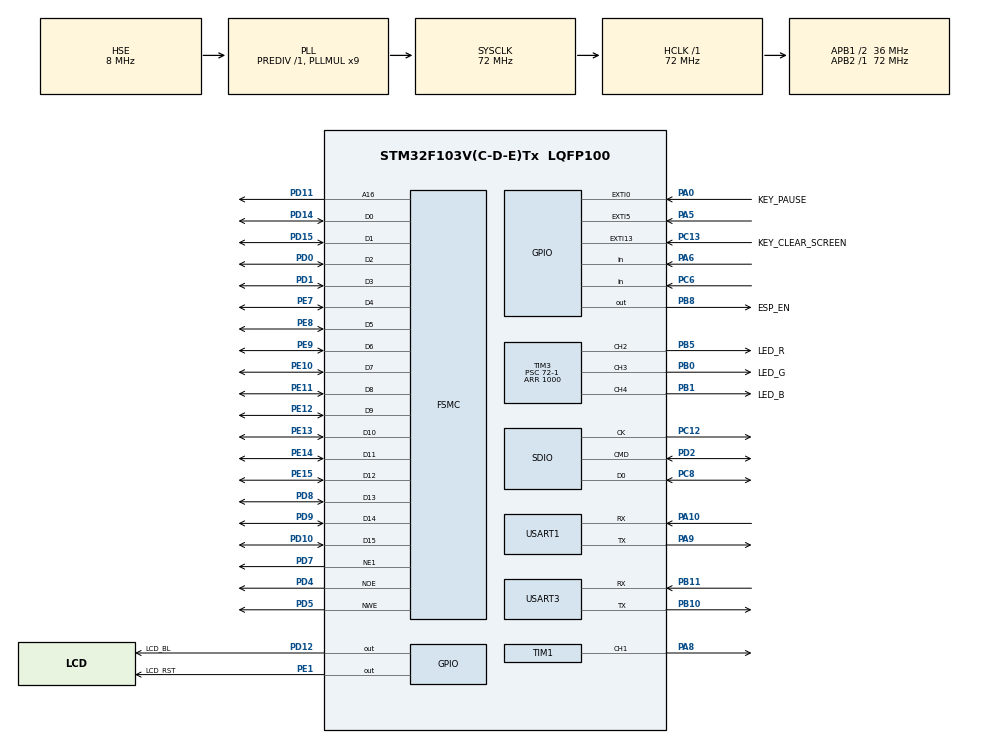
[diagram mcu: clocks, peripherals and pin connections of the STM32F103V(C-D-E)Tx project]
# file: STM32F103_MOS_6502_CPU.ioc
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FATFS.BSP.number=1
FATFS._USE_LFN=1
FATFS0.BSP.STBoard=false
FATFS0.BSP.api=Unknown
FATFS0.BSP.i2caddr=0
FATFS0.BSP.instance=PC6
FATFS0.BSP.ip=GPIO
FATFS0.BSP.mode=Input
FATFS0.BSP.name=Detect_SDIO
FATFS0.BSP.solution=PC6
Mcu.Family=STM32F1
Mcu.Name=STM32F103V(C-D-E)Tx
Mcu.Package=LQFP100
NVIC.EXTI0_IRQn=true\:0\:0\:false\:true\:true\:1\:true\:true\:true
NVIC.EXTI15_10_IRQn=true\:0\:0\:false\:true\:true\:2\:true\:true\:true
NVIC.EXTI9_5_IRQn=true\:0\:0\:false\:false\:false\:true\:true\:true
NVIC.PriorityGroup=NVIC_PRIORITYGROUP_4
OSC_IN.Mode=HSE-External-Oscillator
OSC_IN.Signal=RCC_OSC_IN
OSC_OUT.Mode=HSE-External-Oscillator
OSC_OUT.Signal=RCC_OSC_OUT
PA0-WKUP.GPIO_Label=KEY_PAUSE
PA0-WKUP.Signal=GPXTI0
PA10.Mode=Asynchronous
PA10.Signal=USART1_RX
PA13.Mode=Serial_Wire
PA13.Signal=SYS_JTMS-SWDIO
PA14.Mode=Serial_Wire
PA14.Signal=SYS_JTCK-SWCLK
PA5.GPIO_ModeDefaultEXTI=GPIO_MODE_IT_FALLING
PA5.GPIO_PuPd=GPIO_PULLUP
PA5.Signal=GPXTI5
PA6.GPIO_PuPd=GPIO_PULLUP
PA6.Signal=GPIO_Input
PA8.Signal=S_TIM1_CH1
PA9.Mode=Asynchronous
PA9.Signal=USART1_TX
PB0.GPIO_Label=LED_G
PB0.Signal=S_TIM3_CH3
PB1.GPIO_Label=LED_B
PB1.Signal=S_TIM3_CH4
PB10.Mode=Asynchronous
PB10.Signal=USART3_TX
PB11.Mode=Asynchronous
PB11.Signal=USART3_RX
PB5.GPIO_Label=LED_R
PB5.Signal=S_TIM3_CH2
PB8.GPIO_Label=ESP_EN
PB8.PinState=GPIO_PIN_SET
PB8.Signal=GPIO_Output
PC12.Mode=SD_1_bit
PC12.Signal=SDIO_CK
PC13-TAMPER-RTC.GPIO_Label=KEY_CLEAR_SCREEN
PC13-TAMPER-RTC.Signal=GPXTI13
PC14-OSC32_IN.Mode=LSE-External-Oscillator
PC14-OSC32_IN.Signal=RCC_OSC32_IN
PC15-OSC32_OUT.Mode=LSE-External-Oscillator
PC15-OSC32_OUT.Signal=RCC_OSC32_OUT
PC6.GPIO_PuPd=GPIO_PULLDOWN
PC6.Signal=GPIO_Input
PC8.Mode=SD_1_bit
PC8.Signal=SDIO_D0
PD0.Mode=16b-d1
PD0.Signal=FSMC_D2
PD1.Mode=16b-d1
PD1.Signal=FSMC_D3
PD10.Mode=16b-d1
PD10.Signal=FSMC_D15
PD11.Mode=A16_1
PD11.Signal=FSMC_A16
PD12.GPIO_Label=LCD_BL
PD12.GPIO_Speed=GPIO_SPEED_FREQ_HIGH
PD12.Signal=GPIO_Output
PD14.Mode=16b-d1
PD14.Signal=FSMC_D0
PD15.Mode=16b-d1
PD15.Signal=FSMC_D1
PD2.Mode=SD_1_bit
PD2.Signal=SDIO_CMD
PD4.Mode=Lcd1
PD4.Signal=FSMC_NOE
PD5.Mode=Lcd1
PD5.Signal=FSMC_NWE
PD7.Mode=NorPsramChipSelect1_1
PD7.Signal=FSMC_NE1
PD8.Mode=16b-d1
PD8.Signal=FSMC_D13
PD9.Mode=16b-d1
PD9.Signal=FSMC_D14
PE1.GPIO_Label=LCD_RST
PE1.GPIO_Speed=GPIO_SPEED_FREQ_HIGH
PE1.Signal=GPIO_Output
PE10.Mode=16b-d1
PE10.Signal=FSMC_D7
PE11.Mode=16b-d1
PE11.Signal=FSMC_D8
PE12.Mode=16b-d1
PE12.Signal=FSMC_D9
PE13.Mode=16b-d1
PE13.Signal=FSMC_D10
PE14.Mode=16b-d1
PE14.Signal=FSMC_D11
PE15.Mode=16b-d1
PE15.Signal=FSMC_D12
PE7.Mode=16b-d1
PE7.Signal=FSMC_D4
PE8.Mode=16b-d1
PE8.Signal=FSMC_D5
PE9.Mode=16b-d1
PE9.Signal=FSMC_D6
ProjectManager.HeapSize=0x200
ProjectManager.StackSize=0x400
ProjectManager.TargetToolchain=STM32CubeIDE
RCC.AHBFreq_Value=72000000
RCC.APB1CLKDivider=RCC_HCLK_DIV2
RCC.APB1Freq_Value=36000000
RCC.APB1TimFreq_Value=72000000
RCC.APB2Freq_Value=72000000
RCC.APB2TimFreq_Value=72000000
RCC.HCLKFreq_Value=72000000
RCC.PLLMUL=RCC_PLL_MUL9
RCC.PLLSourceVirtual=RCC_PLLSOURCE_HSE
RCC.SYSCLKFreq_VALUE=72000000
RCC.SYSCLKSource=RCC_SYSCLKSOURCE_PLLCLK
RCC.USBFreq_Value=72000000
SDIO.ClockDiv=4
SH.S_TIM1_CH1.0=TIM1_CH1,PWM Generation1 CH1
SH.S_TIM3_CH2.0=TIM3_CH2,PWM Generation2 CH2
SH.S_TIM3_CH3.0=TIM3_CH3,PWM Generation3 CH3
SH.S_TIM3_CH4.0=TIM3_CH4,PWM Generation4 CH4
TIM1.Channel-PWM\ Generation1\ CH1=TIM_CHANNEL_1
TIM1.Period=1000-1
TIM1.Prescaler=72-1
TIM3.Channel-PWM\ Generation2\ CH2=TIM_CHANNEL_2
TIM3.Channel-PWM\ Generation3\ CH3=TIM_CHANNEL_3
TIM3.Channel-PWM\ Generation4\ CH4=TIM_CHANNEL_4
TIM3.ClockDivision=TIM_CLOCKDIVISION_DIV1
TIM3.OC2Preload_PWM=DISABLE
TIM3.OC3Preload_PWM=DISABLE
TIM3.OC4Preload_PWM=DISABLE
TIM3.OCFastMode_PWM-PWM\ Generation2\ CH2=TIM_OCFAST_DISABLE
TIM3.OCPolarity_2=TIM_OCPOLARITY_LOW
TIM3.OCPolarity_3=TIM_OCPOLARITY_LOW
TIM3.OCPolarity_4=TIM_OCPOLARITY_LOW
TIM3.Period=1000
TIM3.Prescaler=72-1
USART1.VirtualMode=VM_ASYNC
USART3.VirtualMode=VM_ASYNC
VP_FATFS_VS_SDIO.Mode=SDIO
VP_TIM1_VS_ClockSourceINT.Mode=Internal
VP_TIM3_VS_ClockSourceINT.Mode=Internal
board=custom

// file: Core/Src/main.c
/* USER CODE BEGIN Header */
/**
  ******************************************************************************
  * @file           : main.c
  * @brief          : Main program body
  ******************************************************************************
  * @attention
  *
  * Copyright (c) 2023 STMicroelectronics.
  * All rights reserved.
  *
  * This software is licensed under terms that can be found in the LICENSE file
  * in the root directory of this software component.
  * If no LICENSE file comes with this software, it is provided AS-IS.
  *
  ******************************************************************************
  */
/* USER CODE END Header */
#include "main.h"
#include "fatfs.h"

/* USER CODE BEGIN Includes */
// Standard libraries
#include <stdint.h>
#include <stdio.h>
#include <stdbool.h>
#include <string.h>
#include <stdlib.h>
// MOS 6502
#include "mos6502.h"
// LCD
#include "lcd.h"
// PS2
#include "ps2.h"
// ESP
#include "esp8266.h"
/* USER CODE END Includes */

/* USER CODE BEGIN PD */
// Memory map
#define BASIC_START 0xE000
#define PIA_KEYBOARD_REG 0xD010
#define PIA_KEYBOARD_CTRL 0xD011
#define PIA_DISPLAY_REG 0xD012
#define PIA_DISPLAY_CTRL 0xD013
#define WOZMON_START 0xFF00
// Display
#define TERM_WIDTH 40 // Font 8x10
#define TERM_HEIGHT 24
#define TERM_SIZE TERM_WIDTH * TERM_HEIGHT
#define FONT_WIDTH 8
#define FONT_HEIGHT 10
// UART
#define UART_BAUD 115200
#define UART_LINE_ENDING "\r\n"
// CPU
#define CPU_FREQ 1000000
#define INSTRUCTION_CHUNK 100
// Keyboard
#define KEYBOARD_READ_INTERVAL 10 // ms
#define SPACE_KEY 0x20
// WiFi
#define WIFI_SSID "APPLEONE"
#define WIFI_PSWD "BADAPPLE"
// Local GPT Server
#define GPT_SERVER_IP "192.168.137.1"
#define GPT_SERVER_PORT "8888"
/* USER CODE END PD */

/* USER CODE BEGIN PM */
// #define TO_APPLE1CHAR(asciichar) (asciichar + 0x80);
// #define TO_ASCII(ascii) ascii & 0x7F;
/* USER CODE END PM */

 SD_HandleTypeDef hsd;

TIM_HandleTypeDef htim1;
TIM_HandleTypeDef htim3;

UART_HandleTypeDef huart1;
UART_HandleTypeDef huart3;

SRAM_HandleTypeDef hsram1;

void SystemClock_Config(void);
static void MX_GPIO_Init(void);
static void MX_USART1_UART_Init(void);
static void MX_FSMC_Init(void);
static void MX_SDIO_SD_Init(void);
static void MX_TIM1_Init(void);
static void MX_TIM3_Init(void);
static void MX_USART3_UART_Init(void);
static void MX_NVIC_Init(void);
/* USER CODE BEGIN PFP */
// MOS 6502
uint8_t read6502(uint16_t address);
void write6502(uint16_t address, uint8_t value);
// UART & LCD
void handleInput(char *buffer);
void handleOutput(uint8_t value);
// Apple I Initialization
void initApple1(void);
/* USER CODE END PFP */

/* USER CODE BEGIN 0 */

// CPU Block
uint8_t CPU_PAUSE = 0; // 0: Running, 1: Paused

// LED Performance Booster
uint8_t LED_R_value = 0;
uint8_t LED_R_up = 1;
uint8_t LED_G_value = 0;
uint8_t LED_G_up = 1;
uint8_t LED_B_value = 0;
uint8_t LED_B_up = 1;

// LCD Hardware
uint8_t LCD_CURSOR_X = 0; // 0..39
uint8_t LCD_CURSOR_Y = 0; // 0..23

// Virtual Hardware
struct pia6821
{
  uint8_t keyboard_register; // 0xD010 (Input)
  uint8_t keyboard_control;  // 0xD011 (KB Ready)
  uint8_t display_register;  // 0xD012 (Output)
  uint8_t display_control;   // 0xD013 (ATTR)
} pia = {0};

// RAM
uint8_t RAM[RAM_SIZE];
uint8_t keyboardBuffer[1] = {0x00};

// SD Card FS
FATFS SDFatFs;

/**
 * Read from memory (MOS 6502)
 */
uint8_t read6502(uint16_t address) { // Memory mapping for Apple I
  uint16_t BASIC_addr, monitor_addr;

  // RAM
  if (address < RAM_SIZE) return RAM[address];

  // PIA (ACIA 6821)
  if (address == PIA_KEYBOARD_REG) {

    // Debug
    // char debugMsg[100];
    // sprintf(debugMsg, "read6502()::PIA_KEYBOARD_REG at 0x%04X", address);
    // writelineTerminal(debugMsg);

    return pia.keyboard_register;
  }
  if (address == PIA_KEYBOARD_CTRL) {

    // Debug
    // char debugMsg[100];
    // sprintf(debugMsg, "read6502()::PIA_KEYBOARD_CTRL at 0x%04X", address);
    // writelineTerminal(debugMsg);

    // Read from keyboard
    handleInput((char *)keyboardBuffer);
    pia.keyboard_register = keyboardBuffer[0] | 0x80;

    if (keyboardBuffer[0] != 0x00) {
      keyboardBuffer[0] = 0x00;
      return 0x80;
    }
    else
      return 0x00;
  }

  // BASIC ROM
  if (address >= BASIC_START && address <= 0xEFFF) {

    // Debug
    // char debugMsg[100];
    // sprintf(debugMsg, "read6502()::BASIC_ROM at 0x%04X", address);
    // writelineTerminal(debugMsg);

    BASIC_addr = address - 0xE000;
    #if ASSEMBLER
      return BASIC[BASIC_addr];
    #else
      return A1AE0[BASIC_addr];
    #endif
  }

  // WOZMON ROM
  if (address >= 0xF000) {

    // Debug
    // char debugMsg[100];
    // sprintf(debugMsg, "read6502()::WOZMON_ROM at 0x%04X", address);
    // writelineTerminal(debugMsg);

    monitor_addr = (address - 0xF000) & 0xFF; // get => 0..255 for woz rom
    if (monitor_addr < 0x100) return monitor[monitor_addr];
  }

  // Unmapped
  return 0x00;
}

/**
 * Write to memory (MOS 6502)
 */
void write6502(uint16_t address, uint8_t value) {
  // RAM
  if (address < RAM_SIZE) {
    RAM[address] = value;
  }

  // PIA (ACIA 6821)
  if (address == PIA_DISPLAY_REG) {
    pia.display_register = value;
    value &= 0x7F;
    handleOutput(value);
  }
}

/**
 * Write string with line ending to UART & LCD (STM32)
 */
void writelineTerminal(char *buffer) {
  // UART
  HAL_UART_Transmit(&huart1, (uint8_t *)buffer, strlen(buffer), HAL_MAX_DELAY); HAL_UART_Transmit(&huart1, (uint8_t *)UART_LINE_ENDING, strlen(UART_LINE_ENDING), HAL_MAX_DELAY);

  // LCD
  LCD_DrawString(LCD_CURSOR_X * FONT_WIDTH, LCD_CURSOR_Y * FONT_HEIGHT, buffer);
  LCD_CursorNewline();
}

/**
 * Write string to UART & LCD without line ending (STM32)
 */
void writeTerminal(char *buffer) {
  // UART
  HAL_UART_Transmit(&huart1, (uint8_t *)buffer, strlen(buffer), HAL_MAX_DELAY);

  // LCD
  uint8_t tempX = LCD_CURSOR_X;
  uint8_t tempY = LCD_CURSOR_Y;
  for (uint8_t i = 0; i < strlen(buffer); i++) {
    LCD_CursorForward();
  }
  LCD_DrawString(tempX * FONT_WIDTH, tempY * FONT_HEIGHT, buffer);
}

/**
 * Write char to UART & LCD without line ending (STM32)
 */
void writeTerminalChar(char *buffer) {
  // UART
  if (LCD_CURSOR_X + 1 == TERM_WIDTH) {
    HAL_UART_Transmit(&huart1, (uint8_t *)UART_LINE_ENDING, strlen(UART_LINE_ENDING), HAL_MAX_DELAY);
  } else {
    HAL_UART_Transmit(&huart1, (uint8_t *)buffer, 1, HAL_MAX_DELAY);
  }

  // LCD
  uint8_t tempX = LCD_CURSOR_X;
  uint8_t tempY = LCD_CURSOR_Y;
  char tempChar[2] = {0x00};
  tempChar[0] = buffer[0];
  tempChar[1] = '\0';

  LCD_CursorForward();
  LCD_DrawString(tempX * FONT_WIDTH, tempY * FONT_HEIGHT, tempChar);
}

/**
 * Read string from keyboard (UART & PS/2) (STM32)
 */
void handleInput(char *buffer) {
  HAL_UART_Receive(&huart1, (uint8_t *)buffer, 1, KEYBOARD_READ_INTERVAL); // Read from UART
  // TODO: Read from PS/2
  if(isKbrdReady()){
	  buffer[0] = getAscii();
  }
  buffer[0] &= 0x7F; // Mask out MSB
  /* Key Translation for Apple I */
  // Convert lowercase to uppercase
  if (buffer[0] >= 'a' && buffer[0] <= 'z') {
    buffer[0] -= 0x20;
  }
  // Convert LF to CR
  else if (buffer[0] == '\n') {
    buffer[0] = '\r';
  }
  else if (buffer[0] == '\b') {
    buffer[0] = 0x5F;
  }
  // Convert backspace to rubout
  else if (buffer[0] == 0x7F) {
    buffer[0] = '_';
  }
  // Ctrl + C to reset
  else if (buffer[0] == 0x03) {
    writelineTerminal("");
    writelineTerminal("[Ctrl + C] Resetting in 1 seconds...");
    HAL_Delay(1000);
    keyboardBuffer[0] = SPACE_KEY;
    initApple1();
  }
  // Ctrl + S to clear screen
  else if (buffer[0] == 0x13) {
    // UART
    const char *clearScreen = "\x1B\x5B\x32\x4A"; // ANSI escape sequence to clear screen
    HAL_UART_Transmit(&huart1, (uint8_t *)clearScreen, strlen(clearScreen), HAL_MAX_DELAY);

    // LCD
    LCD_Clear(0, 0, 320, 240, BACKGROUND);
    LCD_CURSOR_X = 0;
    LCD_CURSOR_Y = 0;
  }
  // Ctrl + L to load tapes
  else if (buffer[0] == 0x0C) {
	buffer[0] = 0x00;
	writelineTerminal("");
    writelineTerminal("[Ctrl + L] Loading tapes...");
    char filename[64] = {0x00};
    uint16_t index = 0x0200;
    // read char by char from RAM input buffer
    int i;
    for (i = index; (RAM[i] != 0x00 && (i-index < 64)); i++) {
        filename[i - index] = RAM[i] & 0x7F;
        RAM[i] = 0; // resetting it to 0 so it's empty.
    }
    // set last char to null term
    filename[i - index] = '\0';
	buffer[0] = 0x9B; // esc character to reset input
    // Input filename
    writelineTerminal("");
    // Load tape
    tapeLoading(filename);
  }
  // Ctrl + W to connect to WiFi
  else if (buffer[0] == 0x17){
	  buffer[0] = 0x00;
	  uint8_t ip[4] = { 0x00 };
	  char* ssid = WIFI_SSID;
	  char* pswd = WIFI_PSWD;
	  uint8_t state = initESP(ip, ssid, pswd);
	  char* output = malloc(128);
	  if (state == 1) output = "Timed Out";
	  else if (state == 2) output = "No OK from ACK.";
	  else if (state == 3) output = "SSID & PSWD don't match network.";
	  else if (state == 4) output = "IP Can't Be Fetched";
    else if (state == 5) output = "Failed to connect to GPT Server";
	  else{
		  sprintf(output, "Connected to %s successfully!", ssid);
		  writelineTerminal(output);
		  sprintf(output, "My IP: %d.%d.%d.%d", ip[0], ip[1], ip[2], ip[3]);
      buzzerBeep();
	  }
	  writelineTerminal(output);
	  free(output);
  }
  // Ctrl + G to send message to GPT server
  else if (buffer[0] == 0x07){
    buffer[0] = 0x00;
    writelineTerminal("");
    writelineTerminal("Apple One:");
    char message[127] = {0x00};
    uint16_t index = 0x0200;
    // Read char by char from RAM input buffer
    int i;
    for (i = index; (RAM[i] != 0x00 && (i-index < 64)); i++) {
        message[i - index] = RAM[i] & 0x7F;
        RAM[i] = 0; // Resetting it to 0 so it's empty.
    }
    // set last char to null term
    message[i - index] = '\0';
    // esc character to reset input
    buffer[0] = 0x9B;
    // Send message to GPT server
    sendMessageToGPTServer(message);
  }
}

/**
 * Write character to UART & LCD (MOS 6502)
 */
void handleOutput(uint8_t value) {
  if (value == 13) {
    // UART Newline
    HAL_UART_Transmit(&huart1, (uint8_t *)UART_LINE_ENDING, strlen(UART_LINE_ENDING), HAL_MAX_DELAY);
    // LCD Newline
    LCD_Clear(LCD_CURSOR_X * FONT_WIDTH, LCD_CURSOR_Y * FONT_HEIGHT, FONT_WIDTH, FONT_HEIGHT, BLACK);
    if (++LCD_CURSOR_Y > 23) {
		  LCD_CURSOR_Y = 0;
		  // Clear the screen
		  LCD_Clear(0, 0, 320, 240, BACKGROUND);
	  }
	  LCD_CURSOR_X = 0;
  }
  else {
    writeTerminalChar((char *)&value);
  }
}

/**
 * Initialize Apple I
 */
void initApple1(void) {
  // Wait for space key to be pressed in UART
  do {
    HAL_Delay(1000);
    writelineTerminal("Press <space> to boot Apple I");
    handleInput((char *)keyboardBuffer);
  } while (keyboardBuffer[0] != SPACE_KEY);
  keyboardBuffer[0] = 0x00;

  // Initialize CPU
  writeTerminal("Initializing CPU...");
  reset6502(); writelineTerminal(" Complete");

  // Initialize RAM
  writeTerminal("Initializing RAM...");
  for (uint16_t i = 0; i < RAM_SIZE; i++) {
    RAM[i] = 0x00;
  }
  writelineTerminal(" Complete");

  // Initialize PIA
  writeTerminal("Initializing PIA...");
  pia.keyboard_register = 0x00;
  pia.keyboard_control = 0x00;
  pia.display_register = 0x00;
  writelineTerminal(" Complete");

   buzzerBeep();
}

/* USER CODE END 0 */

int main(void)
{

  /* MCU Configuration--------------------------------------------------------*/

  /* Reset of all peripherals, Initializes the Flash interface and the Systick. */
  HAL_Init();

  /* Configure the system clock */
  SystemClock_Config();

  /* Initialize all configured peripherals */
  MX_GPIO_Init();
  MX_USART1_UART_Init();
  MX_FSMC_Init();
  MX_SDIO_SD_Init();
  MX_FATFS_Init();
  MX_TIM1_Init();
  MX_TIM3_Init();
  MX_USART3_UART_Init();

  /* Initialize interrupts */
  MX_NVIC_Init();
  /* USER CODE BEGIN 2 */
  LCD_INIT(); // Initialize LCD
  ledInit();
  initApple1(); // Initialize Apple I
  /* USER CODE END 2 */

  /* Infinite loop */
  while (1)
  {

    /* USER CODE BEGIN 3 */
    if (CPU_PAUSE) {
      buzzerBeep();
      HAL_Delay(1000);
    } else {
      // Execute instruction
      exec6502(INSTRUCTION_CHUNK);
      ledBreath();
    }
  }
  /* USER CODE END 3 */
}

void SystemClock_Config(void)
{
  RCC_OscInitTypeDef RCC_OscInitStruct = {0};
  RCC_ClkInitTypeDef RCC_ClkInitStruct = {0};

  /** Initializes the RCC Oscillators according to the specified parameters
  * in the RCC_OscInitTypeDef structure.
  */
  RCC_OscInitStruct.OscillatorType = RCC_OSCILLATORTYPE_HSE;
  RCC_OscInitStruct.HSEState = RCC_HSE_ON;
  RCC_OscInitStruct.HSEPredivValue = RCC_HSE_PREDIV_DIV1;
  RCC_OscInitStruct.HSIState = RCC_HSI_ON;
  RCC_OscInitStruct.PLL.PLLState = RCC_PLL_ON;
  RCC_OscInitStruct.PLL.PLLSource = RCC_PLLSOURCE_HSE;
  RCC_OscInitStruct.PLL.PLLMUL = RCC_PLL_MUL9;
  if (HAL_RCC_OscConfig(&RCC_OscInitStruct) != HAL_OK)
  {
    Error_Handler();
  }

  /** Initializes the CPU, AHB and APB buses clocks
  */
  RCC_ClkInitStruct.ClockType = RCC_CLOCKTYPE_HCLK|RCC_CLOCKTYPE_SYSCLK
                              |RCC_CLOCKTYPE_PCLK1|RCC_CLOCKTYPE_PCLK2;
  RCC_ClkInitStruct.SYSCLKSource = RCC_SYSCLKSOURCE_PLLCLK;
  RCC_ClkInitStruct.AHBCLKDivider = RCC_SYSCLK_DIV1;
  RCC_ClkInitStruct.APB1CLKDivider = RCC_HCLK_DIV2;
  RCC_ClkInitStruct.APB2CLKDivider = RCC_HCLK_DIV1;

  if (HAL_RCC_ClockConfig(&RCC_ClkInitStruct, FLASH_LATENCY_2) != HAL_OK)
  {
    Error_Handler();
  }
}

/**
  * @brief NVIC Configuration.
  * @retval None
  */
static void MX_NVIC_Init(void)
{
  /* EXTI0_IRQn interrupt configuration */
  HAL_NVIC_SetPriority(EXTI0_IRQn, 0, 0);
  HAL_NVIC_EnableIRQ(EXTI0_IRQn);
  /* EXTI15_10_IRQn interrupt configuration */
  HAL_NVIC_SetPriority(EXTI15_10_IRQn, 0, 0);
  HAL_NVIC_EnableIRQ(EXTI15_10_IRQn);
}

static void MX_SDIO_SD_Init(void)
{

  hsd.Instance = SDIO;
  hsd.Init.ClockEdge = SDIO_CLOCK_EDGE_RISING;
  hsd.Init.ClockBypass = SDIO_CLOCK_BYPASS_DISABLE;
  hsd.Init.ClockPowerSave = SDIO_CLOCK_POWER_SAVE_DISABLE;
  hsd.Init.BusWide = SDIO_BUS_WIDE_1B;
  hsd.Init.HardwareFlowControl = SDIO_HARDWARE_FLOW_CONTROL_DISABLE;
  hsd.Init.ClockDiv = 4;

}

static void MX_TIM1_Init(void)
{

  TIM_ClockConfigTypeDef sClockSourceConfig = {0};
  TIM_MasterConfigTypeDef sMasterConfig = {0};
  TIM_OC_InitTypeDef sConfigOC = {0};
  TIM_BreakDeadTimeConfigTypeDef sBreakDeadTimeConfig = {0};

  htim1.Instance = TIM1;
  htim1.Init.Prescaler = 72-1;
  htim1.Init.CounterMode = TIM_COUNTERMODE_UP;
  htim1.Init.Period = 1000-1;
  htim1.Init.ClockDivision = TIM_CLOCKDIVISION_DIV1;
  htim1.Init.RepetitionCounter = 0;
  htim1.Init.AutoReloadPreload = TIM_AUTORELOAD_PRELOAD_DISABLE;
  if (HAL_TIM_Base_Init(&htim1) != HAL_OK)
  {
    Error_Handler();
  }
  sClockSourceConfig.ClockSource = TIM_CLOCKSOURCE_INTERNAL;
  if (HAL_TIM_ConfigClockSource(&htim1, &sClockSourceConfig) != HAL_OK)
  {
    Error_Handler();
  }
  if (HAL_TIM_PWM_Init(&htim1) != HAL_OK)
  {
    Error_Handler();
  }
  sMasterConfig.MasterOutputTrigger = TIM_TRGO_RESET;
  sMasterConfig.MasterSlaveMode = TIM_MASTERSLAVEMODE_DISABLE;
  if (HAL_TIMEx_MasterConfigSynchronization(&htim1, &sMasterConfig) != HAL_OK)
  {
    Error_Handler();
  }
  sConfigOC.OCMode = TIM_OCMODE_PWM1;
  sConfigOC.Pulse = 0;
  sConfigOC.OCPolarity = TIM_OCPOLARITY_HIGH;
  sConfigOC.OCNPolarity = TIM_OCNPOLARITY_HIGH;
  sConfigOC.OCFastMode = TIM_OCFAST_DISABLE;
  sConfigOC.OCIdleState = TIM_OCIDLESTATE_RESET;
  sConfigOC.OCNIdleState = TIM_OCNIDLESTATE_RESET;
  if (HAL_TIM_PWM_ConfigChannel(&htim1, &sConfigOC, TIM_CHANNEL_1) != HAL_OK)
  {
    Error_Handler();
  }
  sBreakDeadTimeConfig.OffStateRunMode = TIM_OSSR_DISABLE;
  sBreakDeadTimeConfig.OffStateIDLEMode = TIM_OSSI_DISABLE;
  sBreakDeadTimeConfig.LockLevel = TIM_LOCKLEVEL_OFF;
  sBreakDeadTimeConfig.DeadTime = 0;
  sBreakDeadTimeConfig.BreakState = TIM_BREAK_DISABLE;
  sBreakDeadTimeConfig.BreakPolarity = TIM_BREAKPOLARITY_HIGH;
  sBreakDeadTimeConfig.AutomaticOutput = TIM_AUTOMATICOUTPUT_DISABLE;
  if (HAL_TIMEx_ConfigBreakDeadTime(&htim1, &sBreakDeadTimeConfig) != HAL_OK)
  {
    Error_Handler();
  }
  HAL_TIM_MspPostInit(&htim1);

}

static void MX_TIM3_Init(void)
{

  TIM_ClockConfigTypeDef sClockSourceConfig = {0};
  TIM_MasterConfigTypeDef sMasterConfig = {0};
  TIM_OC_InitTypeDef sConfigOC = {0};

  htim3.Instance = TIM3;
  htim3.Init.Prescaler = 72-1;
  htim3.Init.CounterMode = TIM_COUNTERMODE_UP;
  htim3.Init.Period = 1000;
  htim3.Init.ClockDivision = TIM_CLOCKDIVISION_DIV1;
  htim3.Init.AutoReloadPreload = TIM_AUTORELOAD_PRELOAD_DISABLE;
  if (HAL_TIM_Base_Init(&htim3) != HAL_OK)
  {
    Error_Handler();
  }
  sClockSourceConfig.ClockSource = TIM_CLOCKSOURCE_INTERNAL;
  if (HAL_TIM_ConfigClockSource(&htim3, &sClockSourceConfig) != HAL_OK)
  {
    Error_Handler();
  }
  if (HAL_TIM_PWM_Init(&htim3) != HAL_OK)
  {
    Error_Handler();
  }
  sMasterConfig.MasterOutputTrigger = TIM_TRGO_RESET;
  sMasterConfig.MasterSlaveMode = TIM_MASTERSLAVEMODE_DISABLE;
  if (HAL_TIMEx_MasterConfigSynchronization(&htim3, &sMasterConfig) != HAL_OK)
  {
    Error_Handler();
  }
  sConfigOC.OCMode = TIM_OCMODE_PWM1;
  sConfigOC.Pulse = 0;
  sConfigOC.OCPolarity = TIM_OCPOLARITY_LOW;
  sConfigOC.OCFastMode = TIM_OCFAST_DISABLE;
  if (HAL_TIM_PWM_ConfigChannel(&htim3, &sConfigOC, TIM_CHANNEL_2) != HAL_OK)
  {
    Error_Handler();
  }
  __HAL_TIM_DISABLE_OCxPRELOAD(&htim3, TIM_CHANNEL_2);
  if (HAL_TIM_PWM_ConfigChannel(&htim3, &sConfigOC, TIM_CHANNEL_3) != HAL_OK)
  {
    Error_Handler();
  }
  __HAL_TIM_DISABLE_OCxPRELOAD(&htim3, TIM_CHANNEL_3);
  if (HAL_TIM_PWM_ConfigChannel(&htim3, &sConfigOC, TIM_CHANNEL_4) != HAL_OK)
  {
    Error_Handler();
  }
  __HAL_TIM_DISABLE_OCxPRELOAD(&htim3, TIM_CHANNEL_4);
  HAL_TIM_MspPostInit(&htim3);

}

static void MX_USART1_UART_Init(void)
{

  huart1.Instance = USART1;
  huart1.Init.BaudRate = 115200;
  huart1.Init.WordLength = UART_WORDLENGTH_8B;
  huart1.Init.StopBits = UART_STOPBITS_1;
  huart1.Init.Parity = UART_PARITY_NONE;
  huart1.Init.Mode = UART_MODE_TX_RX;
  huart1.Init.HwFlowCtl = UART_HWCONTROL_NONE;
  huart1.Init.OverSampling = UART_OVERSAMPLING_16;
  if (HAL_UART_Init(&huart1) != HAL_OK)
  {
    Error_Handler();
  }

}

static void MX_USART3_UART_Init(void)
{

  huart3.Instance = USART3;
  huart3.Init.BaudRate = 115200;
  huart3.Init.WordLength = UART_WORDLENGTH_8B;
  huart3.Init.StopBits = UART_STOPBITS_1;
  huart3.Init.Parity = UART_PARITY_NONE;
  huart3.Init.Mode = UART_MODE_TX_RX;
  huart3.Init.HwFlowCtl = UART_HWCONTROL_NONE;
  huart3.Init.OverSampling = UART_OVERSAMPLING_16;
  if (HAL_UART_Init(&huart3) != HAL_OK)
  {
    Error_Handler();
  }

}

static void MX_GPIO_Init(void)
{
  GPIO_InitTypeDef GPIO_InitStruct = {0};

  /* GPIO Ports Clock Enable */
  __HAL_RCC_GPIOC_CLK_ENABLE();
  __HAL_RCC_GPIOA_CLK_ENABLE();
  __HAL_RCC_GPIOB_CLK_ENABLE();
  __HAL_RCC_GPIOE_CLK_ENABLE();
  __HAL_RCC_GPIOD_CLK_ENABLE();

  /*Configure GPIO pin Output Level */
  HAL_GPIO_WritePin(LCD_BL_GPIO_Port, LCD_BL_Pin, GPIO_PIN_RESET);

  /*Configure GPIO pin Output Level */
  HAL_GPIO_WritePin(ESP_EN_GPIO_Port, ESP_EN_Pin, GPIO_PIN_SET);

  /*Configure GPIO pin Output Level */
  HAL_GPIO_WritePin(LCD_RST_GPIO_Port, LCD_RST_Pin, GPIO_PIN_RESET);

  /*Configure GPIO pin : KEY_CLEAR_SCREEN_Pin */
  GPIO_InitStruct.Pin = KEY_CLEAR_SCREEN_Pin;
  GPIO_InitStruct.Mode = GPIO_MODE_IT_RISING;
  GPIO_InitStruct.Pull = GPIO_NOPULL;
  HAL_GPIO_Init(KEY_CLEAR_SCREEN_GPIO_Port, &GPIO_InitStruct);

  /*Configure GPIO pin : KEY_PAUSE_Pin */
  GPIO_InitStruct.Pin = KEY_PAUSE_Pin;
  GPIO_InitStruct.Mode = GPIO_MODE_IT_RISING;
  GPIO_InitStruct.Pull = GPIO_NOPULL;
  HAL_GPIO_Init(KEY_PAUSE_GPIO_Port, &GPIO_InitStruct);

  /*Configure GPIO pin : PA5 */
  GPIO_InitStruct.Pin = GPIO_PIN_5;
  GPIO_InitStruct.Mode = GPIO_MODE_IT_FALLING;
  GPIO_InitStruct.Pull = GPIO_PULLUP;
  HAL_GPIO_Init(GPIOA, &GPIO_InitStruct);

  /*Configure GPIO pin : PA6 */
  GPIO_InitStruct.Pin = GPIO_PIN_6;
  GPIO_InitStruct.Mode = GPIO_MODE_INPUT;
  GPIO_InitStruct.Pull = GPIO_PULLUP;
  HAL_GPIO_Init(GPIOA, &GPIO_InitStruct);

  /*Configure GPIO pin : LCD_BL_Pin */
  GPIO_InitStruct.Pin = LCD_BL_Pin;
  GPIO_InitStruct.Mode = GPIO_MODE_OUTPUT_PP;
  GPIO_InitStruct.Pull = GPIO_NOPULL;
  GPIO_InitStruct.Speed = GPIO_SPEED_FREQ_HIGH;
  HAL_GPIO_Init(LCD_BL_GPIO_Port, &GPIO_InitStruct);

  /*Configure GPIO pin : PC6 */
  GPIO_InitStruct.Pin = GPIO_PIN_6;
  GPIO_InitStruct.Mode = GPIO_MODE_INPUT;
  GPIO_InitStruct.Pull = GPIO_PULLDOWN;
  HAL_GPIO_Init(GPIOC, &GPIO_InitStruct);

  /*Configure GPIO pin : ESP_EN_Pin */
  GPIO_InitStruct.Pin = ESP_EN_Pin;
  GPIO_InitStruct.Mode = GPIO_MODE_OUTPUT_PP;
  GPIO_InitStruct.Pull = GPIO_NOPULL;
  GPIO_InitStruct.Speed = GPIO_SPEED_FREQ_LOW;
  HAL_GPIO_Init(ESP_EN_GPIO_Port, &GPIO_InitStruct);

  /*Configure GPIO pin : LCD_RST_Pin */
  GPIO_InitStruct.Pin = LCD_RST_Pin;
  GPIO_InitStruct.Mode = GPIO_MODE_OUTPUT_PP;
  GPIO_InitStruct.Pull = GPIO_NOPULL;
  GPIO_InitStruct.Speed = GPIO_SPEED_FREQ_HIGH;
  HAL_GPIO_Init(LCD_RST_GPIO_Port, &GPIO_InitStruct);

  /* EXTI interrupt init*/
  HAL_NVIC_SetPriority(EXTI9_5_IRQn, 0, 0);
  HAL_NVIC_EnableIRQ(EXTI9_5_IRQn);

}

/* FSMC initialization function */
static void MX_FSMC_Init(void)
{

  FSMC_NORSRAM_TimingTypeDef Timing = {0};

  /** Perform the SRAM1 memory initialization sequence
  */
  hsram1.Instance = FSMC_NORSRAM_DEVICE;
  hsram1.Extended = FSMC_NORSRAM_EXTENDED_DEVICE;
  /* hsram1.Init */
  hsram1.Init.NSBank = FSMC_NORSRAM_BANK1;
  hsram1.Init.DataAddressMux = FSMC_DATA_ADDRESS_MUX_DISABLE;
  hsram1.Init.MemoryType = FSMC_MEMORY_TYPE_SRAM;
  hsram1.Init.MemoryDataWidth = FSMC_NORSRAM_MEM_BUS_WIDTH_16;
  hsram1.Init.BurstAccessMode = FSMC_BURST_ACCESS_MODE_DISABLE;
  hsram1.Init.WaitSignalPolarity = FSMC_WAIT_SIGNAL_POLARITY_LOW;
  hsram1.Init.WrapMode = FSMC_WRAP_MODE_DISABLE;
  hsram1.Init.WaitSignalActive = FSMC_WAIT_TIMING_BEFORE_WS;
  hsram1.Init.WriteOperation = FSMC_WRITE_OPERATION_ENABLE;
  hsram1.Init.WaitSignal = FSMC_WAIT_SIGNAL_DISABLE;
  hsram1.Init.ExtendedMode = FSMC_EXTENDED_MODE_DISABLE;
  hsram1.Init.AsynchronousWait = FSMC_ASYNCHRONOUS_WAIT_DISABLE;
  hsram1.Init.WriteBurst = FSMC_WRITE_BURST_DISABLE;
  /* Timing */
  Timing.AddressSetupTime = 15;
  Timing.AddressHoldTime = 15;
  Timing.DataSetupTime = 255;
  Timing.BusTurnAroundDuration = 15;
  Timing.CLKDivision = 16;
  Timing.DataLatency = 17;
  Timing.AccessMode = FSMC_ACCESS_MODE_A;
  /* ExtTiming */

  if (HAL_SRAM_Init(&hsram1, &Timing, NULL) != HAL_OK)
  {
    Error_Handler( );
  }

  /** Disconnect NADV
  */

  __HAL_AFIO_FSMCNADV_DISCONNECTED();

}

void Error_Handler(void)
{
  __disable_irq();
  while (1)
  {
  }
}
